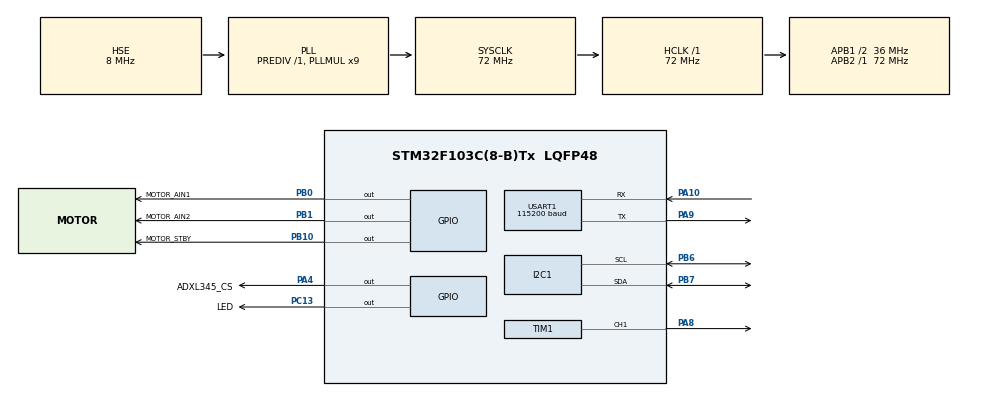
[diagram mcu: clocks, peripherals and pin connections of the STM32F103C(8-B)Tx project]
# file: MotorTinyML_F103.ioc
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Mcu.Family=STM32F1
Mcu.Name=STM32F103C(8-B)Tx
Mcu.Package=LQFP48
NVIC.PriorityGroup=NVIC_PRIORITYGROUP_4
PA10.Mode=Asynchronous
PA10.Signal=USART1_RX
PA13.Mode=Serial_Wire
PA13.Signal=SYS_JTMS-SWDIO
PA14.Mode=Serial_Wire
PA14.Signal=SYS_JTCK-SWCLK
PA4.GPIO_Label=ADXL345_CS
PA4.PinState=GPIO_PIN_SET
PA4.Signal=GPIO_Output
PA8.Signal=S_TIM1_CH1
PA9.Mode=Asynchronous
PA9.Signal=USART1_TX
PB0.GPIO_Label=MOTOR_AIN1
PB0.Signal=GPIO_Output
PB1.GPIO_Label=MOTOR_AIN2
PB1.Signal=GPIO_Output
PB10.GPIO_Label=MOTOR_STBY
PB10.Signal=GPIO_Output
PB6.Mode=I2C
PB6.Signal=I2C1_SCL
PB7.Mode=I2C
PB7.Signal=I2C1_SDA
PC13-TAMPER-RTC.GPIO_Label=LED
PC13-TAMPER-RTC.Signal=GPIO_Output
PD0-OSC_IN.Mode=HSE-External-Oscillator
PD0-OSC_IN.Signal=RCC_OSC_IN
PD1-OSC_OUT.Mode=HSE-External-Oscillator
PD1-OSC_OUT.Signal=RCC_OSC_OUT
ProjectManager.HeapSize=0x200
ProjectManager.StackSize=0x400
ProjectManager.TargetToolchain=STM32CubeIDE
RCC.AHBFreq_Value=72000000
RCC.APB1CLKDivider=RCC_HCLK_DIV2
RCC.APB1Freq_Value=36000000
RCC.APB1TimFreq_Value=72000000
RCC.APB2Freq_Value=72000000
RCC.APB2TimFreq_Value=72000000
RCC.HCLKFreq_Value=72000000
RCC.PLLMUL=RCC_PLL_MUL9
RCC.PLLSourceVirtual=RCC_PLLSOURCE_HSE
RCC.SYSCLKFreq_VALUE=72000000
RCC.SYSCLKSource=RCC_SYSCLKSOURCE_PLLCLK
RCC.USBFreq_Value=72000000
SH.S_TIM1_CH1.0=TIM1_CH1,PWM Generation1 CH1
TIM1.Channel-PWM\ Generation1\ CH1=TIM_CHANNEL_1
TIM1.Period=3599
USART1.BaudRate=115200
USART1.VirtualMode=VM_ASYNC
board=custom

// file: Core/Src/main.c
/* USER CODE BEGIN Header */
/**
  ******************************************************************************
  * @file           : main.c
  * @brief          : Main program body
  ******************************************************************************
  * @attention
  *
  * Copyright (c) 2026 STMicroelectronics.
  * All rights reserved.
  *
  * This software is licensed under terms that can be found in the LICENSE file
  * in the root directory of this software component.
  * If no LICENSE file comes with this software, it is provided AS-IS.
  *
  ******************************************************************************
  */
/* USER CODE END Header */
#include "main.h"

/* USER CODE BEGIN Includes */
#include "led.h"
#include "Delay.h"
#include "motor.h"
#include "adxl345.h"
#include "oled_ssd1306.h"
#include "tiny_classifier_3class_final.h"
#include "tiny_classifier_3class_final_params.h"
#include <stdio.h>
#include <string.h>
#include <math.h>
/* USER CODE END Includes */

/* Set after collecting stopped and running windows; zero keeps the candidate disabled. */
#define MOTION_STOPPED_THRESHOLD_X1000 4000U
#define FINAL_DATA_CAPTURE_MODE 0

I2C_HandleTypeDef hi2c1;

TIM_HandleTypeDef htim1;

UART_HandleTypeDef huart1;

/* USER CODE BEGIN PV */

static int16_t inference_window[200][3];
static uint16_t inference_sample_count = 0;
static uint32_t total_windows = 0;
static uint32_t predicted_count[3] = {0, 0, 0};
static int32_t current_prediction = -1;
static int last_predictions[5] = {-1, -1, -1, -1, -1};
static uint8_t prediction_history_count = 0;
static uint8_t prediction_history_index = 0;
static int stable_class = -1;
static int last_displayed_state = -1;
static const char *const tiny_classifier_class_names[3] = {
  "normal", "rotor_unbalance", "overload"
};
static const char *const device_state_names[5] = {
  "STOPPED", "NORMAL", "ROTOR_UNBALANCE", "OVERLOAD", "UNKNOWN"
};

/* USER CODE END PV */

void SystemClock_Config(void);
static void MX_GPIO_Init(void);
static void MX_USART1_UART_Init(void);
static void MX_TIM1_Init(void);
static void MX_I2C1_Init(void);
static void TinyClassifier3Final_StaticLinkCheck(void);
static void TinyClassifier_PrintFeatureVector(const char *prefix,
                                              const float features[TINY3_FINAL_FEATURE_COUNT]);
static void TinyClassifier_PrintAxisFeatures(const float features[TINY3_FINAL_FEATURE_COUNT]);
volatile uintptr_t g_tiny_classifier_link_check;

/* USER CODE BEGIN 0 */

/* Keep the Stage C-3 classifier objects in the link without running inference. */
__attribute__((noinline, used)) static void TinyClassifier3Final_StaticLinkCheck(void)
{
  void (*extract_fn)(const int16_t (*)[TINY3_FINAL_CHANNELS],
                     float[TINY3_FINAL_FEATURE_COUNT]) = TinyClassifier3Final_ExtractFeatures;
  int (*predict_fn)(const float[TINY3_FINAL_FEATURE_COUNT],
                    float[TINY3_FINAL_CLASS_COUNT]) = TinyClassifier3Final_Predict;
  g_tiny_classifier_link_check = (uintptr_t)extract_fn ^ (uintptr_t)predict_fn;
}

static void TinyClassifier_PrintFeatureVector(
    const char *prefix,
    const float features[TINY3_FINAL_FEATURE_COUNT])
{
  char line[64];
  int length = snprintf(line, sizeof(line), "%s", prefix);
  HAL_UART_Transmit(&huart1, (uint8_t *)line, (uint16_t)length, HAL_MAX_DELAY);
  for (int index = 0; index < TINY3_FINAL_FEATURE_COUNT; ++index)
  {
    const int32_t scaled = (int32_t)(features[index] * 1000.0f);
    length = snprintf(line, sizeof(line), " f%d=%ld", index, (long)scaled);
    HAL_UART_Transmit(&huart1, (uint8_t *)line, (uint16_t)length, HAL_MAX_DELAY);
  }
  HAL_UART_Transmit(&huart1, (uint8_t *)"\r\n", 2, HAL_MAX_DELAY);
}

static void TinyClassifier_PrintAxisFeatures(
    const float features[TINY3_FINAL_FEATURE_COUNT])
{
  static const char *const axis_names[3] = {"X", "Y", "Z"};
  char line[192];
  for (int axis = 0; axis < 3; ++axis)
  {
    const int base = axis * 7;
    const int length = snprintf(
        line, sizeof(line),
        "[FEATURES_%s] mean=%ld std=%ld rms=%ld min=%ld max=%ld p2p=%ld mad=%ld\r\n",
        axis_names[axis],
        (long)(features[base + 0] * 1000.0f),
        (long)(features[base + 1] * 1000.0f),
        (long)(features[base + 2] * 1000.0f),
        (long)(features[base + 3] * 1000.0f),
        (long)(features[base + 4] * 1000.0f),
        (long)(features[base + 5] * 1000.0f),
        (long)(features[base + 6] * 1000.0f));
    HAL_UART_Transmit(&huart1, (uint8_t *)line, (uint16_t)length, HAL_MAX_DELAY);
  }
}

/* USER CODE END 0 */

int main(void)
{

  /* MCU Configuration--------------------------------------------------------*/

  /* Reset of all peripherals, Initializes the Flash interface and the Systick. */
  HAL_Init();

  /* USER CODE BEGIN Init */
  LED_Init();

  /* USER CODE END Init */

  /* Configure the system clock */
  SystemClock_Config();

  /* Initialize all configured peripherals */
  MX_GPIO_Init();
  MX_USART1_UART_Init();
  MX_TIM1_Init();
  MX_I2C1_Init();
  /* USER CODE BEGIN 2 */

 // Motor_Init();
  char boot_msg[] = "MotorTinyML STM32F103 boot\r\n";
  char msg[192];

  HAL_UART_Transmit(&huart1,
                    (uint8_t *)boot_msg,
                    sizeof(boot_msg) - 1,
                    HAL_MAX_DELAY);

  TinyClassifier3Final_StaticLinkCheck();

  /* 先确认芯片 ID */
  uint8_t devid = ADXL345_ReadDeviceID();

  snprintf(msg,
           sizeof(msg),
           "ADXL345 Device ID = 0x%02X\r\n",
           devid);

  HAL_UART_Transmit(&huart1,
                    (uint8_t *)msg,
                    strlen(msg),
                    HAL_MAX_DELAY);

  /* 再初始化 ADXL345 */
  uint8_t oled_address = 0;
  uint8_t oled_ready = 0;
#if !FINAL_DATA_CAPTURE_MODE
  if (OLED_ScanAndInit(&oled_address) == HAL_OK)
  {
      snprintf(msg, sizeof(msg), "OLED FOUND: 0x%02X\r\n", oled_address);
      HAL_UART_Transmit(&huart1, (uint8_t *)msg, strlen(msg), HAL_MAX_DELAY);
      if (OLED_ShowStatus(oled_address) == HAL_OK)
      {
          oled_ready = 1;
          char oled_ok[] = "OLED OK: MotorTinyML status displayed\r\n";
          HAL_UART_Transmit(&huart1, (uint8_t *)oled_ok, sizeof(oled_ok) - 1, HAL_MAX_DELAY);
      }
      else
      {
          char oled_err[] = "OLED ERROR: display write failed\r\n";
          HAL_UART_Transmit(&huart1, (uint8_t *)oled_err, sizeof(oled_err) - 1, HAL_MAX_DELAY);
      }
  }
  else
  {
      char oled_missing[] = "OLED NOT FOUND: tried 0x3C and 0x3D\r\n";
      HAL_UART_Transmit(&huart1, (uint8_t *)oled_missing, sizeof(oled_missing) - 1, HAL_MAX_DELAY);
  }
#else
  HAL_UART_Transmit(&huart1,
                    (uint8_t *)"FINAL_DATA_CAPTURE_MODE: classifier/OLED output disabled\r\n",
                    sizeof("FINAL_DATA_CAPTURE_MODE: classifier/OLED output disabled\r\n") - 1,
                    HAL_MAX_DELAY);
#endif

  uint8_t adxl_ready = 0;
  if (devid != 0xE5)
  {
      char err[] = "ADXL345 ERROR: invalid Device ID, classification disabled\r\n";
      HAL_UART_Transmit(&huart1, (uint8_t *)err, sizeof(err) - 1, HAL_MAX_DELAY);
  }
  else if (ADXL345_Init() != HAL_OK)
  {
      char err[] = "ADXL345 ERROR: init failed, classification disabled\r\n";
      HAL_UART_Transmit(&huart1, (uint8_t *)err, sizeof(err) - 1, HAL_MAX_DELAY);
  }
  else
  {
      adxl_ready = 1;
      char ready[] = "ADXL345 READY: realtime classifier enabled\r\n";
      HAL_UART_Transmit(&huart1, (uint8_t *)ready, sizeof(ready) - 1, HAL_MAX_DELAY);
  }

/*I2C方式扫描模块ID
  char boot_msg[] = "MotorTinyML STM32F103 boot\r\n";

  HAL_UART_Transmit(&huart1,
                    (uint8_t *)boot_msg,
                    sizeof(boot_msg) - 1,
                    HAL_MAX_DELAY);

  char msg[64];

  HAL_UART_Transmit(&huart1,
                    (uint8_t *)"I2C scan start\r\n",
                    strlen("I2C scan start\r\n"),
                    HAL_MAX_DELAY);

  for (uint16_t addr = 1; addr < 128; addr++)
  {
      if (HAL_I2C_IsDeviceReady(&hi2c1,
                                addr << 1,
                                1,
                                10) == HAL_OK)
      {
          snprintf(msg,
                   sizeof(msg),
                   "I2C device found: 0x%02X\r\n",
                   addr);

          HAL_UART_Transmit(&huart1,
                            (uint8_t *)msg,
                            strlen(msg),
                            HAL_MAX_DELAY);
      }
  }

  HAL_UART_Transmit(&huart1,
                    (uint8_t *)"I2C scan done\r\n",
                    strlen("I2C scan done\r\n"),
                    HAL_MAX_DELAY);

*/

  /*SPI方式读取ADXL345的ID
  char boot_msg[] = "MotorTinyML STM32F103 boot\r\n";

  HAL_UART_Transmit(&huart1,
                    (uint8_t *)boot_msg,
                    sizeof(boot_msg) - 1,
                    HAL_MAX_DELAY);

  uint8_t devid = ADXL345_ReadDeviceID();

  char msg[64];

  snprintf(msg,
           sizeof(msg),
           "ADXL345 Device ID = 0x%02X\r\n",
           devid);

  HAL_UART_Transmit(&huart1,
                    (uint8_t *)msg,
                    strlen(msg),
                    HAL_MAX_DELAY);
*/
  Motor_Init();
  Motor_SetSpeed(60);
  Motor_Start();

  ADXL345_Data_t accel;
  uint32_t last_sample = HAL_GetTick();
  uint32_t last_heartbeat = HAL_GetTick();
  uint32_t inference_window_start = 0;
  /* USER CODE END 2 */

  /* Infinite loop */
  while (1)
  {

    /* USER CODE BEGIN 3 */

	 uint32_t now = HAL_GetTick();
	 /* 心跳灯：每 500 ms 翻转一次 */
	 if ((now - last_heartbeat) >= 500)
	 {
	     last_heartbeat = now;
	     HAL_GPIO_TogglePin(LED_GPIO_Port, LED_Pin);
	 }

	 /* ADXL345 200 Hz 采样 */
	     if ((now - last_sample) >= 5)
	     {
	         last_sample += 5;

         if (adxl_ready && ADXL345_ReadXYZ(&accel) == HAL_OK)
         {
             uint32_t sample_time = HAL_GetTick();

	             snprintf(msg,
	                      sizeof(msg),
	                      "%lu,%d,%d,%d\r\n",
	                      sample_time,
	                      accel.x,
	                      accel.y,
	                      accel.z);

             HAL_UART_Transmit(&huart1,
                               (uint8_t *)msg,
                               strlen(msg),
                               HAL_MAX_DELAY);

#if !FINAL_DATA_CAPTURE_MODE
             if (inference_sample_count == 0)
             {
                 inference_window_start = sample_time;
             }
             inference_window[inference_sample_count][0] = accel.x;
             inference_window[inference_sample_count][1] = accel.y;
             inference_window[inference_sample_count][2] = accel.z;
             inference_sample_count++;

             if (inference_sample_count >= 200)
             {
                 float features[TINY3_FINAL_FEATURE_COUNT];
                 float scores[TINY3_FINAL_CLASS_COUNT];
                 uint32_t feature_start = HAL_GetTick();
                 TinyClassifier3Final_ExtractFeatures(inference_window, features);
                 uint32_t feature_extract_ms = HAL_GetTick() - feature_start;
                 const float vibration_metric = sqrtf(
                     (features[1] * features[1] +
                      features[8] * features[8] +
                      features[15] * features[15]) / 3.0f);
                 const int stopped_candidate =
                     ((uint32_t)(vibration_metric * 1000.0f) < MOTION_STOPPED_THRESHOLD_X1000) ? 1 : 0;
                 snprintf(msg, sizeof(msg),
                          "[MOTION] vibration_metric=%ld stopped_candidate=%d\r\n",
                          (long)(vibration_metric * 1000.0f), stopped_candidate);
                 HAL_UART_Transmit(&huart1, (uint8_t *)msg, strlen(msg), HAL_MAX_DELAY);
                 float scaled_features[TINY3_FINAL_FEATURE_COUNT];
                 for (int feature_index = 0;
                      feature_index < TINY3_FINAL_FEATURE_COUNT;
                      ++feature_index)
                 {
                     scaled_features[feature_index] =
                         (features[feature_index] - g_tiny3_final_feature_mean[feature_index]) /
                         g_tiny3_final_feature_std[feature_index];
                 }
                 TinyClassifier_PrintFeatureVector("[FEATURES]", features);
                 TinyClassifier_PrintFeatureVector("[SCALED_FEATURES]", scaled_features);
                 TinyClassifier_PrintAxisFeatures(features);
                 uint32_t inference_start = HAL_GetTick();
                 int predicted_class = TinyClassifier3Final_Predict(features, scores);
                 uint32_t inference_ms = HAL_GetTick() - inference_start;
                 uint32_t total_cycle_ms = HAL_GetTick() - inference_window_start;
                 uint32_t window_acquisition_ms = sample_time - inference_window_start;
                 int32_t score0 = (int32_t)(scores[0] * 1000.0f);
                 int32_t score1 = (int32_t)(scores[1] * 1000.0f);
                 int32_t score2 = (int32_t)(scores[2] * 1000.0f);

                 total_windows++;
                 if (predicted_class >= 0 && predicted_class < 3)
                 {
                     predicted_count[predicted_class]++;
                 }
                 current_prediction = predicted_class;

                 snprintf(msg, sizeof(msg),
                          "[CLASS] CLASS=%s ID=%d scores_x1000=[%ld,%ld,%ld]\r\n",
                          tiny_classifier_class_names[predicted_class], predicted_class,
                          (long)score0, (long)score1, (long)score2);
                 HAL_UART_Transmit(&huart1, (uint8_t *)msg, strlen(msg), HAL_MAX_DELAY);
                 if (predicted_class >= 0 && predicted_class < 3)
                 {
                     uint32_t votes[3] = {0, 0, 0};
                     last_predictions[prediction_history_index] = predicted_class;
                     prediction_history_index = (uint8_t)((prediction_history_index + 1U) % 5U);
                     if (prediction_history_count < 5U)
                     {
                         prediction_history_count++;
                     }

                     for (uint8_t history_index = 0;
                          history_index < prediction_history_count;
                          ++history_index)
                     {
                         const int history_class = last_predictions[history_index];
                         if (history_class >= 0 && history_class < 3)
                         {
                             votes[history_class]++;
                         }
                     }

                     if (prediction_history_count >= 3U)
                     {
                         for (int vote_class = 0; vote_class < 3; ++vote_class)
                         {
                             if (votes[vote_class] >= 3U)
                             {
                                 stable_class = vote_class;
                                 break;
                             }
                         }
                     }

                     snprintf(msg, sizeof(msg),
                              "[CLASS_VOTE] votes=[%lu,%lu,%lu] stable_class=%d\r\n",
                              (unsigned long)votes[0],
                              (unsigned long)votes[1],
                              (unsigned long)votes[2],
                              stable_class);
                     HAL_UART_Transmit(&huart1, (uint8_t *)msg, strlen(msg), HAL_MAX_DELAY);

                     const int final_state = stopped_candidate ? 0 :
                                             (stable_class >= 0 ? stable_class + 1 : -1);
                     if (oled_ready && final_state >= 0 &&
                         final_state != last_displayed_state)
                     {
                         if (OLED_ShowDeviceState(oled_address, final_state) == HAL_OK)
                         {
                             last_displayed_state = final_state;
                         }
                     }
                     const int report_state = final_state >= 0 && final_state < 4 ? final_state : 4;
                     snprintf(msg, sizeof(msg), "[DEVICE_STATE] state=%s\r\n",
                              device_state_names[report_state]);
                     HAL_UART_Transmit(&huart1, (uint8_t *)msg, strlen(msg), HAL_MAX_DELAY);
                 }
                 snprintf(msg, sizeof(msg),
                          "[CLASS_STATS] total_windows=%lu\r\n"
                          "predicted_count=[%lu,%lu,%lu]\r\n"
                          "current_prediction=%ld\r\n",
                          (unsigned long)total_windows,
                          (unsigned long)predicted_count[0],
                          (unsigned long)predicted_count[1],
                          (unsigned long)predicted_count[2],
                          (long)current_prediction);
                 HAL_UART_Transmit(&huart1, (uint8_t *)msg, strlen(msg), HAL_MAX_DELAY);
                 snprintf(msg, sizeof(msg),
                          "[CLASS_TIMING] sample_interval_ms=5 window_acquisition_ms=%lu feature_extract_ms=%lu inference_ms=%lu total_cycle_ms=%lu\r\n",
                          (unsigned long)window_acquisition_ms,
                          (unsigned long)feature_extract_ms,
                          (unsigned long)inference_ms,
                          (unsigned long)total_cycle_ms);
                 HAL_UART_Transmit(&huart1, (uint8_t *)msg, strlen(msg), HAL_MAX_DELAY);
                 inference_sample_count = 0;
             }
#endif
         }
         else if (adxl_ready)
         {
	             char err[] = "ADXL345 read error\r\n";

	             HAL_UART_Transmit(&huart1,
	                               (uint8_t *)err,
	                               sizeof(err) - 1,
	                               100);
	         }
	      }

  }
  /* USER CODE END 3 */
}

void SystemClock_Config(void)
{
  RCC_OscInitTypeDef RCC_OscInitStruct = {0};
  RCC_ClkInitTypeDef RCC_ClkInitStruct = {0};

  /** Initializes the RCC Oscillators according to the specified parameters
  * in the RCC_OscInitTypeDef structure.
  */
  RCC_OscInitStruct.OscillatorType = RCC_OSCILLATORTYPE_HSE;
  RCC_OscInitStruct.HSEState = RCC_HSE_ON;
  RCC_OscInitStruct.HSEPredivValue = RCC_HSE_PREDIV_DIV1;
  RCC_OscInitStruct.HSIState = RCC_HSI_ON;
  RCC_OscInitStruct.PLL.PLLState = RCC_PLL_ON;
  RCC_OscInitStruct.PLL.PLLSource = RCC_PLLSOURCE_HSE;
  RCC_OscInitStruct.PLL.PLLMUL = RCC_PLL_MUL9;
  if (HAL_RCC_OscConfig(&RCC_OscInitStruct) != HAL_OK)
  {
    Error_Handler();
  }

  /** Initializes the CPU, AHB and APB buses clocks
  */
  RCC_ClkInitStruct.ClockType = RCC_CLOCKTYPE_HCLK|RCC_CLOCKTYPE_SYSCLK
                              |RCC_CLOCKTYPE_PCLK1|RCC_CLOCKTYPE_PCLK2;
  RCC_ClkInitStruct.SYSCLKSource = RCC_SYSCLKSOURCE_PLLCLK;
  RCC_ClkInitStruct.AHBCLKDivider = RCC_SYSCLK_DIV1;
  RCC_ClkInitStruct.APB1CLKDivider = RCC_HCLK_DIV2;
  RCC_ClkInitStruct.APB2CLKDivider = RCC_HCLK_DIV1;

  if (HAL_RCC_ClockConfig(&RCC_ClkInitStruct, FLASH_LATENCY_2) != HAL_OK)
  {
    Error_Handler();
  }
}

static void MX_I2C1_Init(void)
{

  hi2c1.Instance = I2C1;
  hi2c1.Init.ClockSpeed = 100000;
  hi2c1.Init.DutyCycle = I2C_DUTYCYCLE_2;
  hi2c1.Init.OwnAddress1 = 0;
  hi2c1.Init.AddressingMode = I2C_ADDRESSINGMODE_7BIT;
  hi2c1.Init.DualAddressMode = I2C_DUALADDRESS_DISABLE;
  hi2c1.Init.OwnAddress2 = 0;
  hi2c1.Init.GeneralCallMode = I2C_GENERALCALL_DISABLE;
  hi2c1.Init.NoStretchMode = I2C_NOSTRETCH_DISABLE;
  if (HAL_I2C_Init(&hi2c1) != HAL_OK)
  {
    Error_Handler();
  }

}

static void MX_TIM1_Init(void)
{

  TIM_MasterConfigTypeDef sMasterConfig = {0};
  TIM_OC_InitTypeDef sConfigOC = {0};
  TIM_BreakDeadTimeConfigTypeDef sBreakDeadTimeConfig = {0};

  htim1.Instance = TIM1;
  htim1.Init.Prescaler = 0;
  htim1.Init.CounterMode = TIM_COUNTERMODE_UP;
  htim1.Init.Period = 3599;
  htim1.Init.ClockDivision = TIM_CLOCKDIVISION_DIV1;
  htim1.Init.RepetitionCounter = 0;
  htim1.Init.AutoReloadPreload = TIM_AUTORELOAD_PRELOAD_DISABLE;
  if (HAL_TIM_PWM_Init(&htim1) != HAL_OK)
  {
    Error_Handler();
  }
  sMasterConfig.MasterOutputTrigger = TIM_TRGO_RESET;
  sMasterConfig.MasterSlaveMode = TIM_MASTERSLAVEMODE_DISABLE;
  if (HAL_TIMEx_MasterConfigSynchronization(&htim1, &sMasterConfig) != HAL_OK)
  {
    Error_Handler();
  }
  sConfigOC.OCMode = TIM_OCMODE_PWM1;
  sConfigOC.Pulse = 0;
  sConfigOC.OCPolarity = TIM_OCPOLARITY_HIGH;
  sConfigOC.OCNPolarity = TIM_OCNPOLARITY_HIGH;
  sConfigOC.OCFastMode = TIM_OCFAST_DISABLE;
  sConfigOC.OCIdleState = TIM_OCIDLESTATE_RESET;
  sConfigOC.OCNIdleState = TIM_OCNIDLESTATE_RESET;
  if (HAL_TIM_PWM_ConfigChannel(&htim1, &sConfigOC, TIM_CHANNEL_1) != HAL_OK)
  {
    Error_Handler();
  }
  sBreakDeadTimeConfig.OffStateRunMode = TIM_OSSR_DISABLE;
  sBreakDeadTimeConfig.OffStateIDLEMode = TIM_OSSI_DISABLE;
  sBreakDeadTimeConfig.LockLevel = TIM_LOCKLEVEL_OFF;
  sBreakDeadTimeConfig.DeadTime = 0;
  sBreakDeadTimeConfig.BreakState = TIM_BREAK_DISABLE;
  sBreakDeadTimeConfig.BreakPolarity = TIM_BREAKPOLARITY_HIGH;
  sBreakDeadTimeConfig.AutomaticOutput = TIM_AUTOMATICOUTPUT_DISABLE;
  if (HAL_TIMEx_ConfigBreakDeadTime(&htim1, &sBreakDeadTimeConfig) != HAL_OK)
  {
    Error_Handler();
  }
  HAL_TIM_MspPostInit(&htim1);

}

static void MX_USART1_UART_Init(void)
{

  huart1.Instance = USART1;
  huart1.Init.BaudRate = 115200;
  huart1.Init.WordLength = UART_WORDLENGTH_8B;
  huart1.Init.StopBits = UART_STOPBITS_1;
  huart1.Init.Parity = UART_PARITY_NONE;
  huart1.Init.Mode = UART_MODE_TX_RX;
  huart1.Init.HwFlowCtl = UART_HWCONTROL_NONE;
  huart1.Init.OverSampling = UART_OVERSAMPLING_16;
  if (HAL_UART_Init(&huart1) != HAL_OK)
  {
    Error_Handler();
  }

}

static void MX_GPIO_Init(void)
{
  GPIO_InitTypeDef GPIO_InitStruct = {0};

  /* GPIO Ports Clock Enable */
  __HAL_RCC_GPIOC_CLK_ENABLE();
  __HAL_RCC_GPIOD_CLK_ENABLE();
  __HAL_RCC_GPIOA_CLK_ENABLE();
  __HAL_RCC_GPIOB_CLK_ENABLE();

  /*Configure GPIO pin Output Level */
  HAL_GPIO_WritePin(LED_GPIO_Port, LED_Pin, GPIO_PIN_RESET);

  /*Configure GPIO pin Output Level */
  HAL_GPIO_WritePin(ADXL345_CS_GPIO_Port, ADXL345_CS_Pin, GPIO_PIN_SET);

  /*Configure GPIO pin Output Level */
  HAL_GPIO_WritePin(GPIOB, MOTOR_AIN1_Pin|MOTOR_AIN2_Pin|MOTOR_STBY_Pin, GPIO_PIN_RESET);

  /*Configure GPIO pin : LED_Pin */
  GPIO_InitStruct.Pin = LED_Pin;
  GPIO_InitStruct.Mode = GPIO_MODE_OUTPUT_PP;
  GPIO_InitStruct.Pull = GPIO_NOPULL;
  GPIO_InitStruct.Speed = GPIO_SPEED_FREQ_LOW;
  HAL_GPIO_Init(LED_GPIO_Port, &GPIO_InitStruct);

  /*Configure GPIO pin : ADXL345_CS_Pin */
  GPIO_InitStruct.Pin = ADXL345_CS_Pin;
  GPIO_InitStruct.Mode = GPIO_MODE_OUTPUT_PP;
  GPIO_InitStruct.Pull = GPIO_NOPULL;
  GPIO_InitStruct.Speed = GPIO_SPEED_FREQ_LOW;
  HAL_GPIO_Init(ADXL345_CS_GPIO_Port, &GPIO_InitStruct);

  /*Configure GPIO pins : MOTOR_AIN1_Pin MOTOR_AIN2_Pin MOTOR_STBY_Pin */
  GPIO_InitStruct.Pin = MOTOR_AIN1_Pin|MOTOR_AIN2_Pin|MOTOR_STBY_Pin;
  GPIO_InitStruct.Mode = GPIO_MODE_OUTPUT_PP;
  GPIO_InitStruct.Pull = GPIO_NOPULL;
  GPIO_InitStruct.Speed = GPIO_SPEED_FREQ_LOW;
  HAL_GPIO_Init(GPIOB, &GPIO_InitStruct);

}

void Error_Handler(void)
{
  __disable_irq();
  while (1)
  {
  }
}
